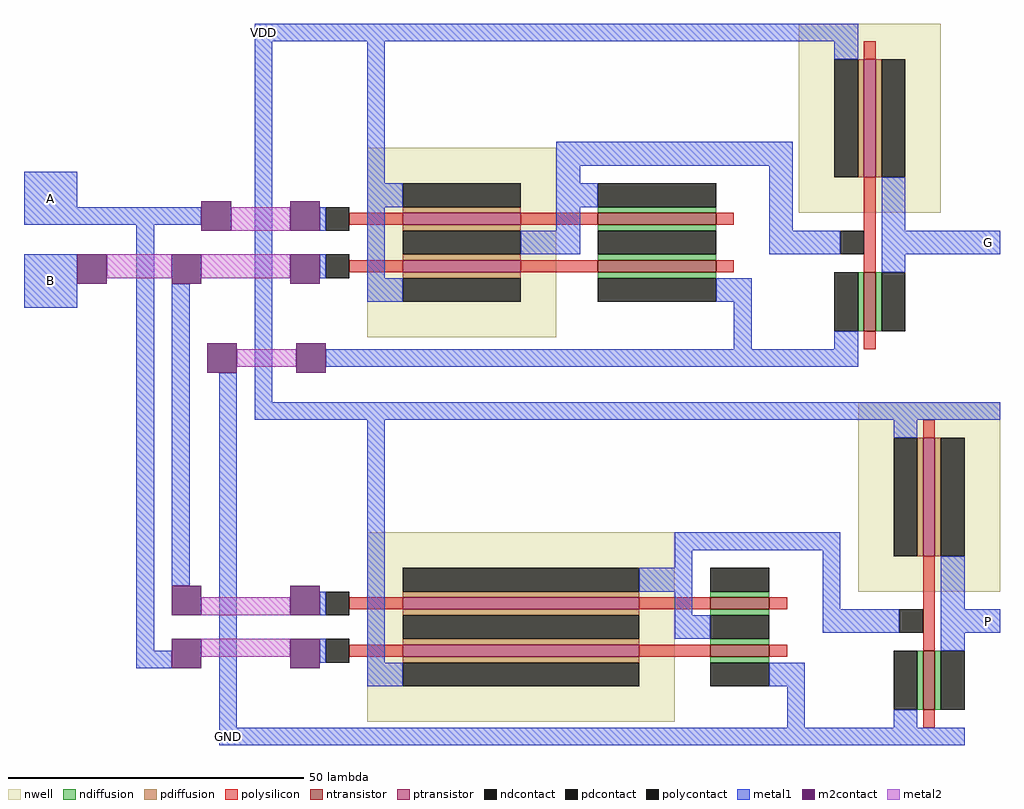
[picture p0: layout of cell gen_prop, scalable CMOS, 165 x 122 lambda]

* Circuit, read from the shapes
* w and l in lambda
.subckt gen_prop A B G GND P VDD
M1 n1 B GND VSUBS nfet w=20 l=2
M2 n2 A n1 VSUBS nfet w=20 l=2
M3 n3 A GND VSUBS nfet w=10 l=2
M4 n4 B n3 VSUBS nfet w=10 l=2
M5 G n2 GND VSUBS nfet w=10 l=2
M6 P n3 GND VSUBS nfet w=10 l=2
M7 n5 A VDD n6 pfet w=40 l=2
M8 n3 B n5 n6 pfet w=40 l=2
M9 n2 B VDD n7 pfet w=20 l=2
M10 VDD A n2 n7 pfet w=20 l=2
M11 G n2 VDD n8 pfet w=20 l=2
M12 P n3 VDD n9 pfet w=20 l=2
.ends

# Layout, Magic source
magic
tech scmos
<< nwell >>
rect 11 5 43 37
rect 84 26 108 58
rect 11 -60 63 -28
rect 94 -38 118 -6
<< ntransistor >>
rect 50 24 70 26
rect 50 16 70 18
rect 95 6 97 16
rect 69 -41 79 -39
rect 69 -49 79 -47
rect 105 -58 107 -48
<< ptransistor >>
rect 95 32 97 52
rect 17 24 37 26
rect 17 16 37 18
rect 105 -32 107 -12
rect 17 -41 57 -39
rect 17 -49 57 -47
<< ndiffusion >>
rect 50 26 70 27
rect 50 23 70 24
rect 50 18 70 19
rect 50 15 70 16
rect 94 6 95 16
rect 97 6 98 16
rect 69 -39 79 -38
rect 69 -42 79 -41
rect 69 -47 79 -46
rect 69 -50 79 -49
rect 104 -58 105 -48
rect 107 -58 108 -48
<< pdiffusion >>
rect 94 32 95 52
rect 97 32 98 52
rect 17 26 37 27
rect 17 23 37 24
rect 17 18 37 19
rect 17 15 37 16
rect 104 -32 105 -12
rect 107 -32 108 -12
rect 17 -39 57 -38
rect 17 -42 57 -41
rect 17 -47 57 -46
rect 17 -50 57 -49
<< ndcontact >>
rect 50 27 70 31
rect 50 19 70 23
rect 50 11 70 15
rect 90 6 94 16
rect 98 6 102 16
rect 69 -38 79 -34
rect 69 -46 79 -42
rect 69 -54 79 -50
rect 100 -58 104 -48
rect 108 -58 112 -48
<< pdcontact >>
rect 90 32 94 52
rect 98 32 102 52
rect 17 27 37 31
rect 17 19 37 23
rect 17 11 37 15
rect 100 -32 104 -12
rect 108 -32 112 -12
rect 17 -38 57 -34
rect 17 -46 57 -42
rect 17 -54 57 -50
<< polysilicon >>
rect 95 52 97 55
rect 8 24 17 26
rect 37 24 50 26
rect 70 24 73 26
rect 8 16 17 18
rect 37 16 50 18
rect 70 16 73 18
rect 95 16 97 32
rect 95 3 97 6
rect 105 -12 107 -9
rect 8 -41 17 -39
rect 57 -41 69 -39
rect 79 -41 82 -39
rect 8 -49 17 -47
rect 57 -49 69 -47
rect 79 -49 82 -47
rect 105 -48 107 -32
rect 105 -61 107 -58
<< polycontact >>
rect 4 23 8 27
rect 4 15 8 19
rect 91 19 95 23
rect 4 -42 8 -38
rect 4 -50 8 -46
rect 101 -45 105 -41
<< metal1 >>
rect -8 55 94 58
rect -47 27 -38 33
rect -47 24 -17 27
rect -47 10 -38 19
rect -28 -48 -25 24
rect -22 -37 -19 14
rect -28 -51 -22 -48
rect -14 -61 -11 -1
rect -8 -6 -5 55
rect 11 31 14 55
rect 90 52 94 55
rect 43 34 83 38
rect 43 31 47 34
rect 11 27 17 31
rect 43 27 50 31
rect 3 23 4 27
rect 3 15 4 19
rect 11 15 14 27
rect 43 23 47 27
rect 79 23 83 34
rect 98 23 102 32
rect 37 19 47 23
rect 79 19 91 23
rect 98 19 118 23
rect 98 16 102 19
rect 11 11 17 15
rect 70 11 76 15
rect 73 3 76 11
rect 90 3 94 6
rect 4 0 94 3
rect -8 -9 118 -6
rect 3 -42 4 -38
rect 3 -50 4 -46
rect 11 -50 14 -9
rect 100 -12 104 -9
rect 63 -31 91 -28
rect 63 -34 66 -31
rect 57 -38 66 -34
rect 63 -42 66 -38
rect 88 -41 91 -31
rect 108 -41 112 -32
rect 63 -46 69 -42
rect 88 -45 101 -41
rect 108 -45 118 -41
rect 108 -48 112 -45
rect 11 -54 17 -50
rect 79 -54 85 -50
rect 82 -61 85 -54
rect 100 -61 104 -58
rect -14 -64 112 -61
<< m2contact >>
rect -38 14 -33 19
rect -17 23 -12 28
rect -22 14 -17 19
rect -16 -1 -11 4
rect -22 -42 -17 -37
rect -22 -51 -17 -46
rect -2 23 3 28
rect -2 14 3 19
rect -1 -1 4 4
rect -2 -42 3 -37
rect -2 -51 3 -46
<< metal2 >>
rect -12 23 -2 27
rect -33 15 -22 19
rect -17 15 -2 19
rect -11 0 -1 3
rect -17 -42 -2 -39
rect -17 -49 -2 -46
<< labels >>
rlabel metal1 -14 -64 -11 -61 2 GND
rlabel metal1 -8 55 -5 58 5 VDD
rlabel metal1 114 19 118 23 7 G
rlabel metal1 114 -45 118 -41 7 P
rlabel metal1 -47 24 -38 33 3 A
rlabel metal1 -47 10 -38 19 3 B
<< end >>
